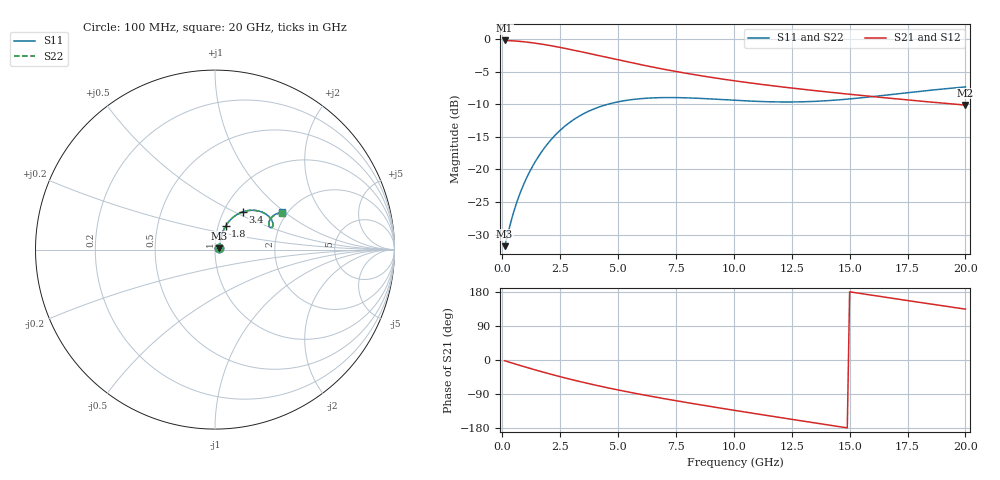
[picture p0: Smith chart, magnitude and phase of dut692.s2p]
! Touchstone file exported from HFSS 2024.1.0
!  File:  C:/UserFiles/LocalFiles/RDL_TSV_Batchsim/temp_RDL_TSV_692_1779819597.aedt
!  Generated:  02:33:49 AM May 27, 2026
!  Design:  RDL_TSV
!  Project:  temp_RDL_TSV_692_1779819597
!  Setup:  Setup1
!  Solution:  Sweep
! Variables:
!  dtsv = 8.52um
!  hbump = 3um
!  htsv = 61.67um
!  ldown = 395.58um
!  lrdl = 548.61um
!  p = 40
!  p1 = 52.22um
!  rhole = 10um
!  subl = 3381.18um
!  t = 450um
!  tdown = 2.8um
!  trdl = 3.29um
!  viad = 10um
!  wdown = 25.39um
!  wrdl = 12.95um
!  xbump = 18um
# GHz S MA R 50.000000
! Terminal data exported
! Port[1] = TM1_1_T1
! Port[2] = TM1_4_T1
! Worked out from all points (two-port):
!   200 points, 100 MHz to 20 GHz, reference 50 ohm
!   highest |S21| = -0.22 dB at 100 MHz (marker M1); lowest = -10.1 dB at 20 GHz (marker M2)
!   |S21| within 3 dB of the highest: start of sweep to 5.025 GHz
!   lowest |S11| = -31.8 dB at 100 MHz (marker M3), VSWR 1.05, Z = 52.5 + j0.855 ohm
!   |S11| at or under -10 dB: start of sweep to 4.568 GHz
!   |S22| runs from -31.8 to -7.4 dB; largest |S21 - S12| = 1.6e-14
!   S11 on the Smith chart (normalised r, x): 100 MHz: 1.05, +0.02; 1.8 GHz: 1.09, +0.29; 3.4 GHz: 1.23, +0.55; 20 GHz: 1.89, +0.96
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0.1  0.02576 18.4  0.9754 -1.9  0.9754 -1.9  0.02576 18.4
! Gamma 0 0 0 0
! Port Impedance 50 0 50 0
0.5  0.04764 53.1  0.9676 -9.5  0.9676 -9.5  0.04763 53.1
0.8  0.06787 61.3  0.9581 -15.0  0.9581 -15.0  0.06787 61.3
1  0.08228 64.1  0.9502 -18.6  0.9502 -18.6  0.08229 64.1
1.3  0.105 66.0  0.9362 -24.0  0.9362 -24.0  0.105 66.0
1.8  0.1447 65.7  0.9082 -32.6  0.9082 -32.6  0.1447 65.7
2.2  0.1765 63.6  0.8827 -39.3  0.8827 -39.3  0.1766 63.6
2.6  0.2071 60.6  0.8555 -45.6  0.8555 -45.6  0.2072 60.6
3.4  0.2609 53.6  0.7991 -57.7  0.7991 -57.7  0.261 53.6
3.5  0.2667 52.7  0.792 -59.1  0.792 -59.1  0.2669 52.7
4.2  0.3019 46.5  0.7437 -68.8  0.7437 -68.8  0.302 46.5
5.1  0.3324 39.3  0.6859 -80.3  0.6859 -80.3  0.3326 39.3
5.9  0.3479 33.9  0.64 -89.8  0.64 -89.8  0.3481 33.8
6.8  0.3551 29.0  0.5947 -99.9  0.5947 -99.9  0.3554 28.9
8.4  0.3515 23.3  0.5292 -116.7  0.5292 -116.7  0.3518 23.2
10.1  0.3385 21.3  0.4762 -133.6  0.4762 -133.6  0.3389 21.2
11.7  0.3296 22.5  0.4374 -149.0  0.4374 -149.0  0.33 22.3
13.4  0.332 25.5  0.4038 -165.1  0.4038 -165.1  0.3321 25.3
15  0.3472 28.4  0.377 179.9  0.377 179.9  0.3471 28.2
16.7  0.3733 30.1  0.352 164.2  0.352 164.2  0.3729 29.9
18.4  0.4032 30.1  0.3298 148.6  0.3298 148.6  0.4024 29.8
20  0.4291 28.8  0.3114 134.3  0.3114 134.3  0.428 28.5
